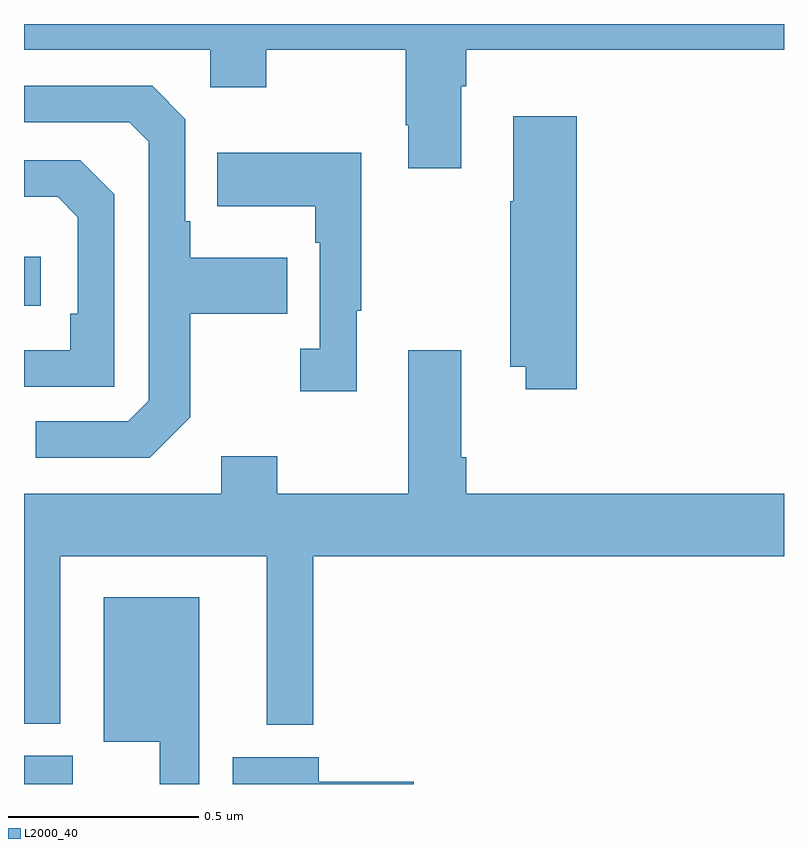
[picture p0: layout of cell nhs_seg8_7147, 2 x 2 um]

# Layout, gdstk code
import gdstk
lib = gdstk.Library(unit=1e-6, precision=1e-09)
def R(c, l, rs):  # rectangles x0, y0, x1, y1
    for r in rs: c.add(gdstk.rectangle(r[:2], r[2:], *l))
def P(c, l, *ps):  # polygons
    for p in ps: c.add(gdstk.Polygon(p, *l))
L2000_40 = (2000, 40)

nhs_seg8_7147 = lib.new_cell('nhs_seg8_7147')
R(nhs_seg8_7147, L2000_40, [(206,1115.9,206.128,1115.974), (206,1117.158,206.044,1117.288)])
P(nhs_seg8_7147, L2000_40, [(207.151,1117.736),(207.164,1117.736),(207.164,1117.832),(208,1117.832),(208,1117.9),(206,1117.9),(206,1117.832),(206.49,1117.832),(206.49,1117.733),(206.637,1117.733),(206.637,1117.832),(207.004,1117.832),(207.004,1117.633),(207.011,1117.633),(207.011,1117.521),(207.151,1117.521)],
  [(206.437,1116.865),(206.437,1117.138),(206.693,1117.138),(206.693,1117.285),(206.437,1117.285),(206.437,1117.381),(206.424,1117.381),(206.424,1117.65),(206.337,1117.737),(206.001,1117.737),(206.001,1117.641),(206.277,1117.641),(206.328,1117.59),(206.328,1116.909),(206.274,1116.855),(206.031,1116.855),(206.031,1116.759),(206.331,1116.759)],
  [(207.455,1117.657),(207.287,1117.657),(207.287,1117.433),(207.28,1117.433),(207.28,1116.998),(207.32,1116.998),(207.32,1116.939),(207.455,1116.939)],
  [(206.875,1117.145),(206.887,1117.145),(206.887,1117.561),(206.509,1117.561),(206.509,1117.421),(206.766,1117.421),(206.766,1117.325),(206.778,1117.325),(206.778,1117.046),(206.727,1117.046),(206.727,1116.933),(206.875,1116.933)],
  [(206.238,1117.452),(206.148,1117.542),(206,1117.542),(206,1117.445),(206.089,1117.445),(206.142,1117.392),(206.142,1117.138),(206.122,1117.138),(206.122,1117.041),(206,1117.041),(206,1116.945),(206.238,1116.945)],
  [(206.761,1116.5),(208,1116.5),(208,1116.664),(207.164,1116.664),(207.164,1116.76),(207.151,1116.76),(207.151,1117.042),(207.011,1117.042),(207.011,1116.664),(206.667,1116.664),(206.667,1116.763),(206.519,1116.763),(206.519,1116.664),(206,1116.664),(206,1116.059),(206.095,1116.059),(206.095,1116.5),(206.639,1116.5),(206.639,1116.056),(206.761,1116.056)],
  [(206.461,1116.391),(206.21,1116.391),(206.21,1116.011),(206.357,1116.011),(206.357,1115.9),(206.461,1115.9)],
  [(207.025,1115.906),(206.776,1115.906),(206.776,1115.971),(206.549,1115.971),(206.549,1115.9),(207.025,1115.9)])

lib.write_gds('nhs_seg8_7147.gds')
